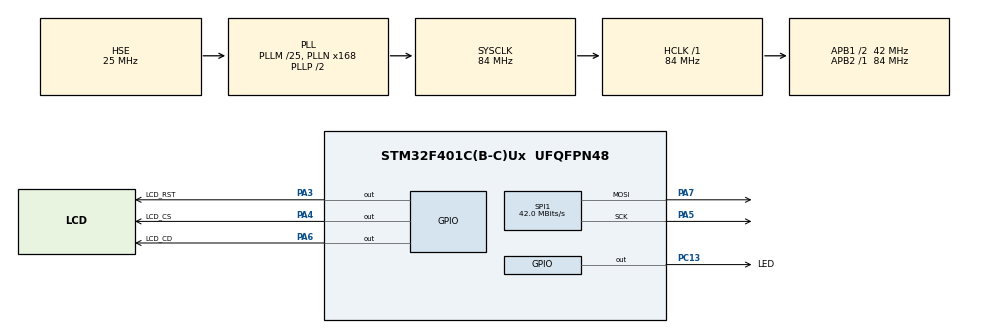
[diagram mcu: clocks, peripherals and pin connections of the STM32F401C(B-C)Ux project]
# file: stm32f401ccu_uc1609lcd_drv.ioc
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Dma.Request0=SPI1_TX
Dma.SPI1_TX.0.Direction=DMA_MEMORY_TO_PERIPH
Dma.SPI1_TX.0.FIFOMode=DMA_FIFOMODE_DISABLE
Dma.SPI1_TX.0.Instance=DMA2_Stream3
Dma.SPI1_TX.0.MemDataAlignment=DMA_MDATAALIGN_BYTE
Dma.SPI1_TX.0.MemInc=DMA_MINC_ENABLE
Dma.SPI1_TX.0.Mode=DMA_NORMAL
Dma.SPI1_TX.0.PeriphDataAlignment=DMA_PDATAALIGN_BYTE
Dma.SPI1_TX.0.PeriphInc=DMA_PINC_DISABLE
Dma.SPI1_TX.0.Priority=DMA_PRIORITY_LOW
Mcu.Family=STM32F4
Mcu.Name=STM32F401C(B-C)Ux
Mcu.Package=UFQFPN48
NVIC.DMA2_Stream3_IRQn=true\:0\:0\:false\:false\:true\:false\:true
NVIC.PriorityGroup=NVIC_PRIORITYGROUP_4
NVIC.TIM1_TRG_COM_TIM11_IRQn=true\:0\:0\:false\:false\:true\:true\:true
NVIC.TIM1_UP_TIM10_IRQn=true\:0\:0\:false\:false\:true\:true\:true
PA13.Mode=Trace_Asynchronous_SW
PA13.Signal=SYS_JTMS-SWDIO
PA14.Mode=Trace_Asynchronous_SW
PA14.Signal=SYS_JTCK-SWCLK
PA3.GPIO_Label=LCD_RST
PA3.Signal=GPIO_Output
PA4.GPIO_Label=LCD_CS
PA4.Signal=GPIO_Output
PA5.Mode=TX_Only_Simplex_Unidirect_Master
PA5.Signal=SPI1_SCK
PA6.GPIO_Label=LCD_CD
PA6.GPIO_Speed=GPIO_SPEED_FREQ_LOW
PA6.PinState=GPIO_PIN_RESET
PA6.Signal=GPIO_Output
PA7.Mode=TX_Only_Simplex_Unidirect_Master
PA7.Signal=SPI1_MOSI
PB3.Mode=Trace_Asynchronous_SW
PB3.Signal=SYS_JTDO-SWO
PC13-ANTI_TAMP.GPIO_Label=LED
PC13-ANTI_TAMP.Signal=GPIO_Output
PH0\ -\ OSC_IN.Mode=HSE-External-Oscillator
PH0\ -\ OSC_IN.Signal=RCC_OSC_IN
PH1\ -\ OSC_OUT.Mode=HSE-External-Oscillator
PH1\ -\ OSC_OUT.Signal=RCC_OSC_OUT
ProjectManager.HeapSize=0x200
ProjectManager.StackSize=0x400
ProjectManager.TargetToolchain=STM32CubeIDE
RCC.48MHZClocksFreq_Value=42000000
RCC.AHBFreq_Value=84000000
RCC.APB1CLKDivider=RCC_HCLK_DIV2
RCC.APB1Freq_Value=42000000
RCC.APB1TimFreq_Value=84000000
RCC.APB2Freq_Value=84000000
RCC.APB2TimFreq_Value=84000000
RCC.CortexFreq_Value=84000000
RCC.HCLKFreq_Value=84000000
RCC.HSE_VALUE=25000000
RCC.HSI_VALUE=16000000
RCC.LSE_VALUE=32768
RCC.PLLM=25
RCC.PLLN=168
RCC.PLLSourceVirtual=RCC_PLLSOURCE_HSE
RCC.SYSCLKFreq_VALUE=84000000
RCC.SYSCLKSource=RCC_SYSCLKSOURCE_PLLCLK
RCC.VCOOutputFreq_Value=168000000
SPI1.BaudRatePrescaler=SPI_BAUDRATEPRESCALER_2
SPI1.CalculateBaudRate=42.0 MBits/s
SPI1.Direction=SPI_DIRECTION_2LINES
SPI1.Mode=SPI_MODE_MASTER
SPI1.TIMode=SPI_TIMODE_DISABLE
SPI1.VirtualType=VM_MASTER
TIM10.AutoReloadPreload=TIM_AUTORELOAD_PRELOAD_ENABLE
TIM10.Period=199
TIM10.Prescaler=8399
TIM11.AutoReloadPreload=TIM_AUTORELOAD_PRELOAD_ENABLE
TIM11.Period=4999
TIM11.Prescaler=8399
VP_TIM10_VS_ClockSourceINT.Mode=Enable_Timer
VP_TIM11_VS_ClockSourceINT.Mode=Enable_Timer
board=custom

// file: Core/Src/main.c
/* USER CODE BEGIN Header */
/**
 ******************************************************************************
 * @file           : main.c
 * @brief          : Main program body
 ******************************************************************************
 * @attention
 *
 * <h2><center>&copy; Copyright (c) 2020 STMicroelectronics.
 * All rights reserved.</center></h2>
 *
 * This software component is licensed by ST under BSD 3-Clause license,
 * the "License"; You may not use this file except in compliance with the
 * License. You may obtain a copy of the License at:
 *                        opensource.org/licenses/BSD-3-Clause
 *
 ******************************************************************************
 */
/* USER CODE END Header */

#include "main.h"

/* USER CODE BEGIN Includes */
#include "uc1609.h"
#include "stdlib.h"
#include "stdio.h"
/* USER CODE END Includes */

SPI_HandleTypeDef hspi1;
DMA_HandleTypeDef hdma_spi1_tx;

TIM_HandleTypeDef htim10;
TIM_HandleTypeDef htim11;

void SystemClock_Config(void);
static void MX_GPIO_Init(void);
static void MX_DMA_Init(void);
static void MX_TIM11_Init(void);
static void MX_SPI1_Init(void);
static void MX_TIM10_Init(void);

int main(void)
{

	/* MCU Configuration--------------------------------------------------------*/

	/* Reset of all peripherals, Initializes the Flash interface and the Systick. */
	HAL_Init();

	/* Configure the system clock */
	SystemClock_Config();

	/* Initialize all configured peripherals */
	MX_GPIO_Init();
	MX_DMA_Init();
	MX_TIM11_Init();
	MX_SPI1_Init();
	MX_TIM10_Init();
	/* USER CODE BEGIN 2 */
	HAL_TIM_Base_Start_IT(&htim11);

	lcd_init();
	lcd_cls(1);
	HAL_Delay(1000);
	lcd_cls(0);
	display_list_816(0, 0, "Test", 0);
	/* USER CODE END 2 */

	/* Infinite loop */
	/* USER CODE BEGIN WHILE */
	uint8_t i=0, j=0;

	while (1)
	{
		/* USER CODE END WHILE */

		/* USER CODE BEGIN 3 */
		switch (i)
		{
		//全屏随机位置显示随机字符
		case 0:
			display_816_char(rand() % 192 / 8 * 8, rand() % 8 / 2 * 2,
					rand() % 96 + 0x20, rand() % 2);
			break;
			//全屏随机起止点画直线
		case 1:
			glcd_line(rand() % 192, rand() % 64, rand() % 128, rand() % 64, 2);
			break;
			//全屏随机圆心半径画圆
		case 2:
			glcd_circle(rand() % 192, rand() % 64, rand() % 90, 2);
			break;
			//全屏随机坐标画点
		case 3:
			gui_point(rand() % 192, rand() % 64, 1);
			break;
		case 4:
			//演示 printf 功能
			printf(" this is line %d\r\n", j);
			break;
		}

		//每条演示指令后延迟10毫秒，不然因为本驱动实在是太快了，看不清，哈哈~
		HAL_Delay(10);

		//每种演示250次后，清屏切换下一种演示
		if (++j == 250)
		{
			j = 0;
			lcd_cls(0);
			if (++i == 5)
				i = 0;
		}

	}
	/* USER CODE END 3 */
}

void SystemClock_Config(void)
{
	RCC_OscInitTypeDef RCC_OscInitStruct =
	{ 0 };
	RCC_ClkInitTypeDef RCC_ClkInitStruct =
	{ 0 };

	/** Configure the main internal regulator output voltage
	 */
	__HAL_RCC_PWR_CLK_ENABLE();
	__HAL_PWR_VOLTAGESCALING_CONFIG(PWR_REGULATOR_VOLTAGE_SCALE2);
	/** Initializes the CPU, AHB and APB busses clocks
	 */
	RCC_OscInitStruct.OscillatorType = RCC_OSCILLATORTYPE_HSE;
	RCC_OscInitStruct.HSEState = RCC_HSE_ON;
	RCC_OscInitStruct.PLL.PLLState = RCC_PLL_ON;
	RCC_OscInitStruct.PLL.PLLSource = RCC_PLLSOURCE_HSE;
	RCC_OscInitStruct.PLL.PLLM = 25;
	RCC_OscInitStruct.PLL.PLLN = 168;
	RCC_OscInitStruct.PLL.PLLP = RCC_PLLP_DIV2;
	RCC_OscInitStruct.PLL.PLLQ = 4;
	if (HAL_RCC_OscConfig(&RCC_OscInitStruct) != HAL_OK)
	{
		Error_Handler();
	}
	/** Initializes the CPU, AHB and APB busses clocks
	 */
	RCC_ClkInitStruct.ClockType = RCC_CLOCKTYPE_HCLK | RCC_CLOCKTYPE_SYSCLK
			| RCC_CLOCKTYPE_PCLK1 | RCC_CLOCKTYPE_PCLK2;
	RCC_ClkInitStruct.SYSCLKSource = RCC_SYSCLKSOURCE_PLLCLK;
	RCC_ClkInitStruct.AHBCLKDivider = RCC_SYSCLK_DIV1;
	RCC_ClkInitStruct.APB1CLKDivider = RCC_HCLK_DIV2;
	RCC_ClkInitStruct.APB2CLKDivider = RCC_HCLK_DIV1;

	if (HAL_RCC_ClockConfig(&RCC_ClkInitStruct, FLASH_LATENCY_2) != HAL_OK)
	{
		Error_Handler();
	}
}

static void MX_SPI1_Init(void)
{

	/* SPI1 parameter configuration*/
	hspi1.Instance = SPI1;
	hspi1.Init.Mode = SPI_MODE_MASTER;
	hspi1.Init.Direction = SPI_DIRECTION_2LINES;
	hspi1.Init.DataSize = SPI_DATASIZE_8BIT;
	hspi1.Init.CLKPolarity = SPI_POLARITY_LOW;
	hspi1.Init.CLKPhase = SPI_PHASE_1EDGE;
	hspi1.Init.NSS = SPI_NSS_SOFT;
	hspi1.Init.BaudRatePrescaler = SPI_BAUDRATEPRESCALER_2;
	hspi1.Init.FirstBit = SPI_FIRSTBIT_MSB;
	hspi1.Init.TIMode = SPI_TIMODE_DISABLE;
	hspi1.Init.CRCCalculation = SPI_CRCCALCULATION_DISABLE;
	hspi1.Init.CRCPolynomial = 10;
	if (HAL_SPI_Init(&hspi1) != HAL_OK)
	{
		Error_Handler();
	}

}

static void MX_TIM10_Init(void)
{

	htim10.Instance = TIM10;
	htim10.Init.Prescaler = 8399;
	htim10.Init.CounterMode = TIM_COUNTERMODE_UP;
	htim10.Init.Period = 199;
	htim10.Init.ClockDivision = TIM_CLOCKDIVISION_DIV1;
	htim10.Init.AutoReloadPreload = TIM_AUTORELOAD_PRELOAD_ENABLE;
	if (HAL_TIM_Base_Init(&htim10) != HAL_OK)
	{
		Error_Handler();
	}

}

static void MX_TIM11_Init(void)
{

	htim11.Instance = TIM11;
	htim11.Init.Prescaler = 8399;
	htim11.Init.CounterMode = TIM_COUNTERMODE_UP;
	htim11.Init.Period = 4999;
	htim11.Init.ClockDivision = TIM_CLOCKDIVISION_DIV1;
	htim11.Init.AutoReloadPreload = TIM_AUTORELOAD_PRELOAD_ENABLE;
	if (HAL_TIM_Base_Init(&htim11) != HAL_OK)
	{
		Error_Handler();
	}

}

static void MX_DMA_Init(void)
{

	/* DMA controller clock enable */
	__HAL_RCC_DMA2_CLK_ENABLE();

	/* DMA interrupt init */
	/* DMA2_Stream3_IRQn interrupt configuration */
	HAL_NVIC_SetPriority(DMA2_Stream3_IRQn, 0, 0);
	HAL_NVIC_EnableIRQ(DMA2_Stream3_IRQn);

}

static void MX_GPIO_Init(void)
{
	GPIO_InitTypeDef GPIO_InitStruct =
	{ 0 };

	/* GPIO Ports Clock Enable */
	__HAL_RCC_GPIOC_CLK_ENABLE();
	__HAL_RCC_GPIOH_CLK_ENABLE();
	__HAL_RCC_GPIOA_CLK_ENABLE();
	__HAL_RCC_GPIOB_CLK_ENABLE();

	/*Configure GPIO pin Output Level */
	HAL_GPIO_WritePin(LED_GPIO_Port, LED_Pin, GPIO_PIN_RESET);

	/*Configure GPIO pin Output Level */
	HAL_GPIO_WritePin(GPIOA, LCD_RST_Pin | LCD_CS_Pin | LCD_CD_Pin,
			GPIO_PIN_RESET);

	/*Configure GPIO pin : LED_Pin */
	GPIO_InitStruct.Pin = LED_Pin;
	GPIO_InitStruct.Mode = GPIO_MODE_OUTPUT_PP;
	GPIO_InitStruct.Pull = GPIO_NOPULL;
	GPIO_InitStruct.Speed = GPIO_SPEED_FREQ_LOW;
	HAL_GPIO_Init(LED_GPIO_Port, &GPIO_InitStruct);

	/*Configure GPIO pins : LCD_RST_Pin LCD_CS_Pin LCD_CD_Pin */
	GPIO_InitStruct.Pin = LCD_RST_Pin | LCD_CS_Pin | LCD_CD_Pin;
	GPIO_InitStruct.Mode = GPIO_MODE_OUTPUT_PP;
	GPIO_InitStruct.Pull = GPIO_NOPULL;
	GPIO_InitStruct.Speed = GPIO_SPEED_FREQ_LOW;
	HAL_GPIO_Init(GPIOA, &GPIO_InitStruct);

}

/* USER CODE BEGIN 4 */

void HAL_TIM_PeriodElapsedCallback(TIM_HandleTypeDef *htim)
{
	if (htim == &htim10)
		HAL_SPI_Transmit_DMA(&hspi1, disp_buf, 1536);
	if (htim == &htim11)
		HAL_GPIO_TogglePin(LED_GPIO_Port, LED_Pin);
}
/* USER CODE END 4 */

void Error_Handler(void)
{
}

/************************ (C) COPYRIGHT STMicroelectronics *****END OF FILE****/
